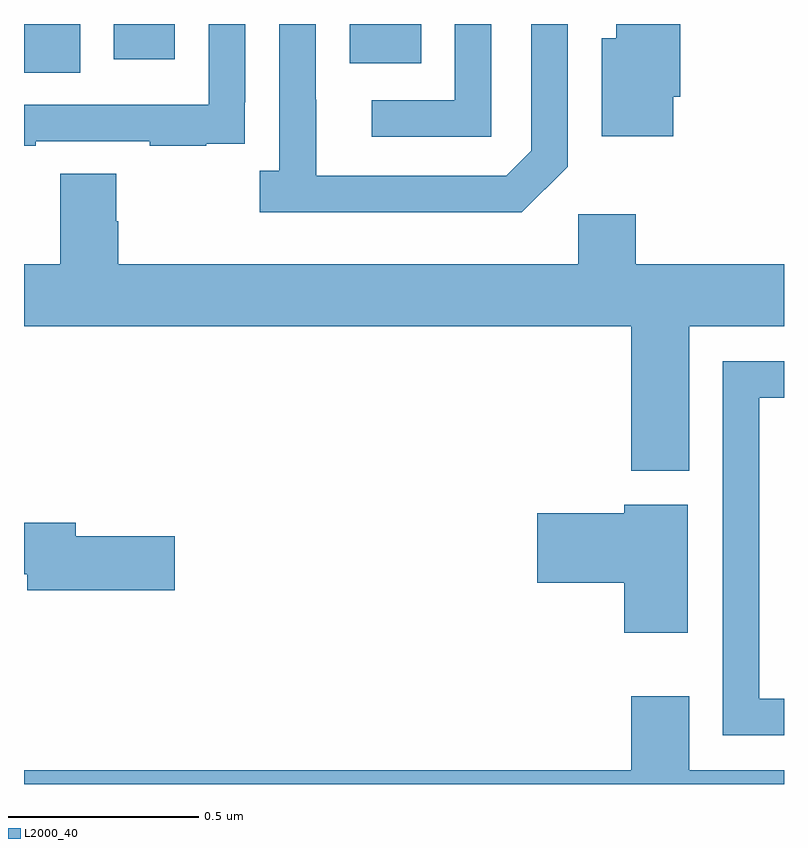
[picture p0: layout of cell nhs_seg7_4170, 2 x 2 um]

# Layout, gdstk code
import gdstk
lib = gdstk.Library(unit=1e-6, precision=1e-09)
def R(c, l, rs):  # rectangles x0, y0, x1, y1
    for r in rs: c.add(gdstk.rectangle(r[:2], r[2:], *l))
def P(c, l, *ps):  # polygons
    for p in ps: c.add(gdstk.Polygon(p, *l))
L2000_40 = (2000, 40)

nhs_seg7_4170 = lib.new_cell('nhs_seg7_4170')
R(nhs_seg7_4170, L2000_40, [(168,1079.872,168.148,1080), (168.857,1079.897,169.045,1080), (168.236,1079.907,168.397,1080)])
P(nhs_seg7_4170, L2000_40, [(169.708,1079.809),(169.727,1079.809),(169.727,1080),(169.559,1080),(169.559,1079.962),(169.52,1079.962),(169.52,1079.705),(169.708,1079.705)],
  [(168.031,1079.691),(168.331,1079.691),(168.331,1079.679),(168.479,1079.679),(168.479,1079.685),(168.581,1079.685),(168.581,1079.794),(168.582,1079.794),(168.582,1080),(168.486,1080),(168.486,1079.787),(168,1079.787),(168,1079.679),(168.031,1079.679)],
  [(169.431,1079.625),(169.431,1080),(169.335,1080),(169.335,1079.667),(169.269,1079.601),(168.769,1079.601),(168.769,1079.801),(168.768,1079.801),(168.768,1080),(168.672,1080),(168.672,1079.614),(168.621,1079.614),(168.621,1079.504),(169.31,1079.504)],
  [(169.23,1080),(169.134,1080),(169.134,1079.799),(168.915,1079.799),(168.915,1079.703),(169.23,1079.703)],
  [(169.75,1079.204),(170,1079.204),(170,1079.368),(169.61,1079.368),(169.61,1079.5),(169.458,1079.5),(169.458,1079.368),(168.248,1079.368),(168.248,1079.481),(168.243,1079.481),(168.243,1079.606),(168.095,1079.606),(168.095,1079.368),(168,1079.368),(168,1079.204),(169.598,1079.204),(169.598,1078.824),(169.75,1078.824)],
  [(170,1078.224),(169.935,1078.224),(169.935,1079.017),(170,1079.017),(170,1079.112),(169.839,1079.112),(169.839,1078.128),(170,1078.128)],
  [(169.747,1078.735),(169.58,1078.735),(169.58,1078.712),(169.35,1078.712),(169.35,1078.529),(169.58,1078.529),(169.58,1078.398),(169.747,1078.398)],
  [(168.397,1078.652),(168.136,1078.652),(168.136,1078.688),(168,1078.688),(168,1078.552),(168.008,1078.552),(168.008,1078.51),(168.397,1078.51)],
  [(170,1078.036),(169.75,1078.036),(169.75,1078.231),(169.598,1078.231),(169.598,1078.036),(168,1078.036),(168,1078),(170,1078)])

lib.write_gds('nhs_seg7_4170.gds')
